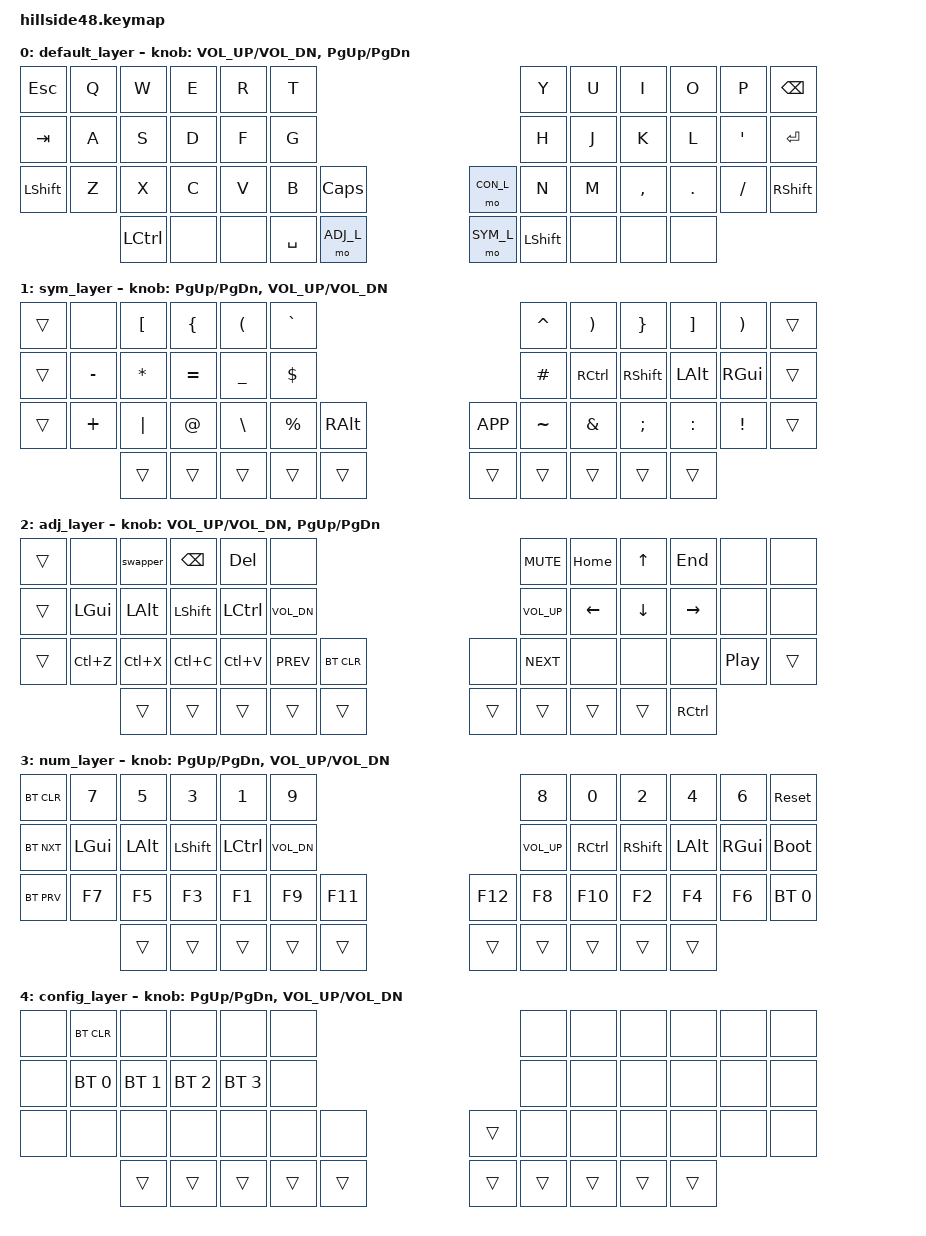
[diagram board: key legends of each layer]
/*
 * Copyright (c) 2022 The ZMK Contributors
 *
 * SPDX-License-Identifier: MIT
 */

#include <behaviors.dtsi>
#include <dt-bindings/zmk/bt.h>
#include <dt-bindings/zmk/ext_power.h>
#include <dt-bindings/zmk/keys.h>
#include <dt-bindings/zmk/outputs.h>

#define QWERTY_L 0
#define SYM_L    1
#define ADJ_L    2
#define NUM_L    3
#define CON_L    4

#define Undo   LC(Z)
#define Cut    LC(X)
#define Copy   LC(C)
#define Paste  LC(V)

/ {
	behaviors {
		// Swapper for smart alt+tab
		swapper: swapper {
		    compatible = "zmk,behavior-tri-state";
		    label = "SWAPPER";
		    #binding-cells = <0>;
		    bindings = <&kt LCTRL>, <&kp GRAVE>, <&kt LCTRL>;
		    ignored-key-positions = <8 19 20 21 44>;
		};
	};

	conditional_layers {
		compatible = "zmk,conditional-layers";
		tri_layer {
			if-layers = <1 2>;
			then-layer = <3>;
		};
	};

        keymap {
                compatible = "zmk,keymap";

                default_layer {
/* QWERTY
 * -------------------------------------------------------------------------------------------------------------------------------------
 * | ESC   |   Q   |   W   |   E   |   R   |   T   |-----------------------------------|   Y   |   U   |   I   |   O   |   P   | BKSPC |
 * | TAB   |   A   |   S   |   D   |   F   |   G   |-----------------------------------|   H   |   J   |   K   |   L   |   '   | ENTER |
 * | SHIFT |   Z   |   X   |   C   |   V   |   B   | CAPS  |-------------------| Con   |   N   |   M   |   ,   |   .   |   /   | SHIFT |
 * ----------------| CTRL  |-------|-------|-------| SPACE |  Adj  |---|  Sym  | SHIFT |-------|-------|-------|  n/a  |----------------
 */
                        bindings = <
&kp  ESC      &kp  Q        &kp  W        &kp  E        &kp  R        &kp  T                                                                         &kp  Y        &kp  U        &kp  I        &kp  O        &kp  P        &kp  BSPC
&kp  TAB      &kp  A        &kp  S        &kp  D        &kp  F        &kp  G                                                                         &kp  H        &kp  J        &kp  K        &kp  L        &kp  SQT      &kp  ENTER  
&kp  LSHFT    &kp  Z        &kp  X        &kp  C        &kp  V        &kp  B        &kp  CAPS                                          &mo  CON_L    &kp  N        &kp  M        &kp  COMMA    &kp  DOT      &kp  SLASH    &kp  RSHFT
                            &kp  LCTRL                  &none         &none         &kp  SPACE    &mo  ADJ_L             &mo  SYM_L    &kp  LSHFT    &none         &none                       &none   
                        >;
			
                        sensor-bindings = <&inc_dec_kp C_VOL_UP C_VOL_DN &inc_dec_kp PG_UP PG_DN>;
                };
		
                sym_layer {
/* SYM -------------------------------------------------------------------------------------------------------------------------------------
 * |       |       |   [   |   {   |   (   |   `   |-----------------------------------|   ^   |   )   |   }   |   ]   |       |       |
 * |       |   -   |   *   |   =   |   _   |   $   |-----------------------------------|   #   | ctrl  | shift |  alt  |  gui  |       |
 * |       |   +   |   |   |   @   |   \   |   %   |OsAltGr|-------------------| MENU  |   ~   |   &   |   ;   |   :   |   !   |       |
 * ----------------|       |-------|       |       |       |       |---|       |       |       |       |-------| CTRL  |----------------
 */
                        bindings = <
&trans     &none         &kp  LBKT     &kp  LBRC     &kp  LPAR     &kp  GRAVE                                                                     &kp  CARET    &kp  RPAR     &kp  RBRC     &kp  RBKT     &kp  RPAR     &trans
&trans     &kp  MINUS    &kp  ASTRK    &kp  EQUAL    &kp  UNDER    &kp  DOLLAR                                                                    &kp  HASH     &kp  RCTRL    &kp  RSHFT    &kp   LALT    &kp  RGUI     &trans
&trans     &kp  PLUS     &kp  PIPE     &kp  AT       &kp  BSLH     &kp  PERCENT  &kp  RALT                                          &kp  K_APP    &kp  TILDE    &kp  AMPS     &kp  SEMI     &kp  COLON    &kp  EXCL     &trans
			 &trans                      &trans        &trans        &trans        &trans                 &trans        &trans        &trans        &trans                      &trans    
                        >;
			
                        sensor-bindings = <&inc_dec_kp PG_UP PG_DN &inc_dec_kp C_VOL_UP C_VOL_DN>;
                };
		
                adj_layer {
/* ADJUST
 * -------------------------------------------------------------------------------------------------------------------------------------
 * |       |       | swap  | BKSPC | del   |       |-----------------------------------| mute  | home  |  up   |  end  |       |       |
 * |       |  gui  |  alt  | shift | ctrl  |vol dn |-----------------------------------|vol up | left  | down  | right |       |       |
 * |       |  undo |  cut  | copy  | paste | prev  |BT CLR |-------------------|       | next  |       |       |       |play/pa|       |
 * ----------------|       |-------|       |       |       |       |---|       |       |       |       |-------| CTRL  |----------------
 */
                        bindings = <
&trans        &none         &swapper      &kp  BSPC     &kp  DEL      &none                                                                      &kp  C_MUTE     &kp HOME    &kp UP      &kp END    &none    &none
&trans        &kp LGUI      &kp  LALT     &kp LSHFT     &kp LCTRL     &kp  C_VOL_DN                                                              &kp  C_VOL_UP   &kp LEFT    &kp DOWN    &kp RIGHT  &none    &none
&trans        &kp Undo      &kp Cut       &kp Copy      &kp Paste     &kp  C_PREV   &bt BT_CLR                                         &none     &kp  C_NEXT     &none       &none       &none      &kp C_PP &trans
                            &trans                      &trans        &trans        &trans        &trans                 &trans        &trans    &trans          &trans                  &kp  RCTRL   
                        >;
			
                        sensor-bindings = <&inc_dec_kp C_VOL_UP C_VOL_DN &inc_dec_kp PG_UP PG_DN>;
                };

                num_layer {
/* NUM   
 * -------------------------------------------------------------------------------------------------------------------------------------
 * | bt_clr|   7   |   5   |   3   |   1   |   9   |-----------------------------------|   8   |   0   |   2   |   4   |   6   | reset |
 * | bt_nxt|  gui  |  alt  | shift | ctrl  |vol dn |-----------------------------------|vol up | ctrl  | shift |  alt  |  gui  | boot  |
 * | br_prv|  F7   |  F5   |  F3   |  F1   |  F9   |  F11  |-------------------| F12   |  F8   |  f10  |  f2   |  f4   |  f6   | bt_0  |
 * ----------------|       |-------|       |       |       |       |---|       |       |       |       |-------|       |----------------
 */
                        bindings = <
&bt BT_CLR  &kp  N7       &kp  N5       &kp  N3       &kp  N1       &kp  N9                                                                        &kp  N8       &kp  N0      &kp   N2      &kp   N4      &kp  N6       &sys_reset
&bt BT_NXT  &kp  LGUI     &kp  LALT     &kp  LSHFT    &kp  LCTRL    &kp  C_VOL_DN                                                                  &kp  C_VOL_UP &kp  RCTRL   &kp   RSHFT   &kp   LALT    &kp  RGUI     &bootloader
&bt BT_PRV  &kp  F7       &kp  F5       &kp  F3       &kp  F1       &kp  F9       &kp F11                                            &kp  F12      &kp  F8       &kp  F10     &kp   F2      &kp   F4      &kp  F6       &bt BT_SEL 0
                          &trans                      &trans        &trans        &trans        &trans                 &trans        &trans        &trans        &trans                      &trans
                        >;
			
                        sensor-bindings = <&inc_dec_kp PG_UP PG_DN &inc_dec_kp C_VOL_UP C_VOL_DN>;
                };

/* CON   
 * -------------------------------------------------------------------------------------------------------------------------------------
 * |       | bt_clr|       |       |       |       |-----------------------------------|       |       |       |       |       |       |
 * |       | bt_0  | bt_1  | bt_2  | br_3  |       |-----------------------------------|       |       |       |       |       |       |
 * |       |       |       |       |       |       |       |-------------------|       |       |       |       |       |       |       |
 * ----------------|       |-------|       |       |       |       |---|       |       |       |       |-------|       |----------------
 */
		config_layer {
                        bindings = <
&none	    &bt BT_CLR    &none         &none         &none         &none                                                                          &none         &none        &none         &none         &none         &none
&none	    &bt BT_SEL 0  &bt BT_SEL 1  &bt BT_SEL 2  &bt BT_SEL 3  &none                                                                          &none         &none        &none         &none         &none         &none
&none	    &none         &none         &none         &none         &none         &none                                              &trans        &none         &none        &none         &none         &none         &none 
                          &trans                      &trans        &trans        &trans        &trans                 &trans        &trans        &trans        &trans                     &trans
                        >;
			
                        sensor-bindings = <&inc_dec_kp PG_UP PG_DN &inc_dec_kp C_VOL_UP C_VOL_DN>;
                };
        };
};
